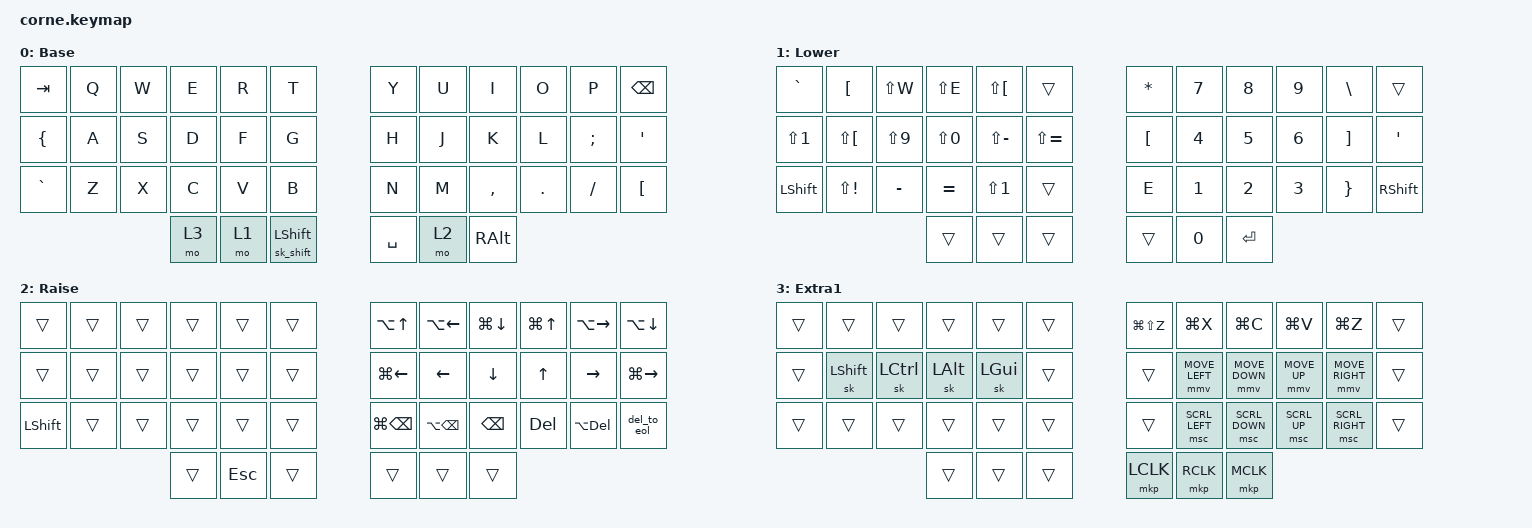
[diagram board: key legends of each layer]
#include <behaviors.dtsi>
#include <dt-bindings/zmk/keys.h>
#include <dt-bindings/zmk/pointing.h>

/ {
    behaviors {
        sk_shift: sticky_shift {
            compatible = "zmk,behavior-sticky-key";
            #binding-cells = <1>;
            bindings = <&kp>;
            release-after-ms = <1000>;
            quick-release;
        };
    };

    macros {
        del_to_eol: delete_to_end_of_line {
            compatible = "zmk,behavior-macro";
            #binding-cells = <0>;
            bindings = <&kp LS(LG(RIGHT)) &kp DELETE>;
        };
    };

    keymap {
        compatible = "zmk,keymap";

        default_layer {
            display-name = "Base";
            bindings = <
&kp TAB       &kp Q   &kp W  &kp E  &kp R  &kp T                   &kp Y      &kp U  &kp I     &kp O  &kp P  &kp BSPC
&kp LEFT_BRACE  &kp A     &kp S      &kp D    &kp F  &kp G                   &kp H      &kp J  &kp K     &kp L  &kp SEMI  &kp SQT
&kp GRAVE     &kp Z  &kp X      &kp C    &kp V  &kp B                   &kp N      &kp M  &kp COMMA     &kp DOT  &kp FSLH  &kp LBKT
                                   &mo 3    &mo 1  &sk_shift LEFT_SHIFT    &kp SPACE  &mo 2  &kp RALT
            >;
        };

        lower_layer {
            display-name = "Lower";
            bindings = <
&kp GRAVE         &kp LBKT             &kp LS(W)  &kp LS(E)  &kp LS(LBKT)      &trans          &kp ASTERISK  &kp N7        &kp N8        &kp N9        &kp BACKSLASH  &trans
&kp LS(NUMBER_1)  &kp LS(LBKT)        &kp LS(N9)     &kp LS(N0)   &kp LS(MINUS)      &kp LS(EQUAL)    &kp LBKT     &kp NUMBER_4  &kp N5        &kp NUMBER_6  &kp RBKT      &kp SQT
&kp LSHFT         &kp LS(EXCLAMATION)  &kp MINUS       &kp EQUAL     &kp LS(NUMBER_1)  &trans          &kp E       &kp NUMBER_1  &kp NUMBER_2  &kp NUMBER_3  &kp RIGHT_BRACE       &kp RIGHT_SHIFT
                                                      &trans       &trans            &trans          &trans        &kp N0        &kp ENTER
            >;
        };

        raise_layer {
            display-name = "Raise";
            bindings = <
&trans     &trans  &trans  &trans  &trans      &trans    &kp LA(UP_ARROW)    &kp LA(LEFT_ARROW)  &kp LG(DOWN_ARROW)  &kp LG(UP_ARROW)  &kp LA(RIGHT_ARROW)  &kp LA(DOWN)
&trans     &trans  &trans  &trans  &trans      &trans    &kp LG(LEFT_ARROW)  &kp LEFT_ARROW      &kp DOWN_ARROW      &kp UP_ARROW      &kp RIGHT_ARROW      &kp LG(RIGHT_ARROW)
&kp LSHFT  &trans  &trans  &trans  &trans      &trans    &kp LG(BACKSPACE)   &kp LA(BACKSPACE)   &kp BACKSPACE       &kp DELETE        &kp LA(DELETE)       &del_to_eol
                           &trans  &kp ESCAPE  &trans    &trans              &trans              &trans
            >;
        };

        extra_1 {
            display-name = "Extra1";
            bindings = <
&trans  &trans          &trans            &trans        &trans        &trans    &kp LG(LS(Z))  &kp LG(X)       &kp LG(C)       &kp LG(V)     &kp LG(Z)        &trans
&trans  &sk LEFT_SHIFT  &sk LEFT_CONTROL  &sk LEFT_ALT  &sk LEFT_GUI  &trans    &trans         &mmv MOVE_LEFT  &mmv MOVE_DOWN  &mmv MOVE_UP  &mmv MOVE_RIGHT  &trans
&trans  &trans          &trans            &trans        &trans        &trans    &trans         &msc SCRL_LEFT  &msc SCRL_DOWN  &msc SCRL_UP  &msc SCRL_RIGHT  &trans
                                          &trans        &trans        &trans    &mkp LCLK      &mkp RCLK       &mkp MCLK
            >;
        };

        extra_2 { status = "reserved"; };

        extra_3 { status = "reserved"; };
    };
};
